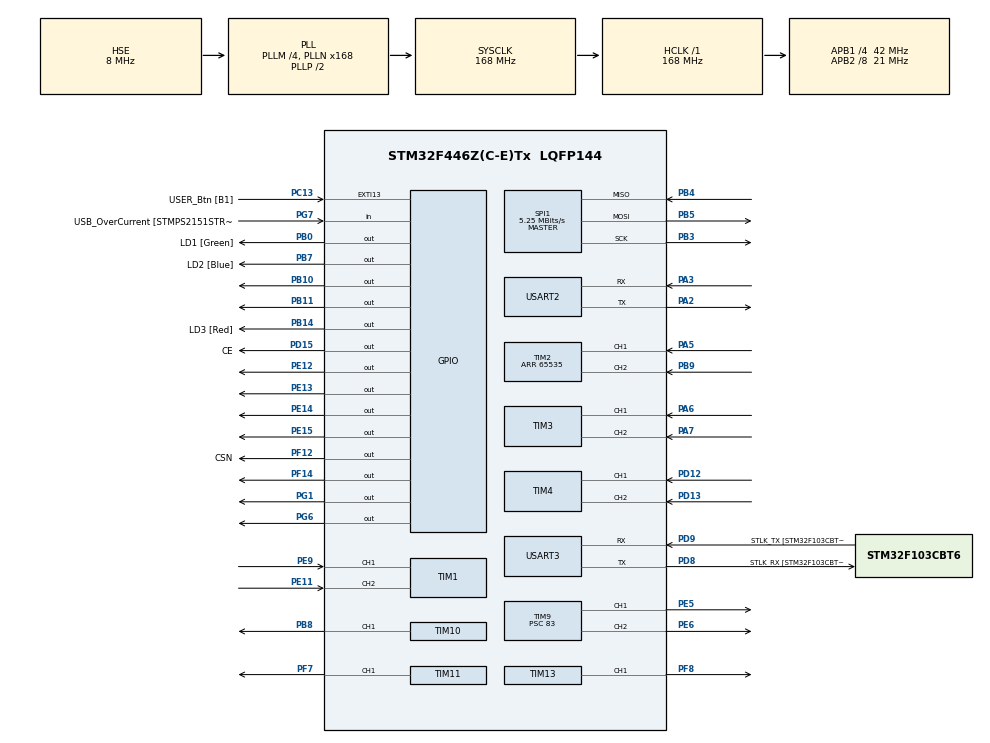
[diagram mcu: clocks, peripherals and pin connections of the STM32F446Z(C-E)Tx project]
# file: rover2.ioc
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Dma.Request0=USART3_RX
Dma.Request1=USART3_TX
Dma.Request2=USART2_RX
Dma.Request3=USART2_TX
Dma.USART2_RX.2.Direction=DMA_PERIPH_TO_MEMORY
Dma.USART2_RX.2.FIFOMode=DMA_FIFOMODE_DISABLE
Dma.USART2_RX.2.Instance=DMA1_Stream5
Dma.USART2_RX.2.MemDataAlignment=DMA_MDATAALIGN_BYTE
Dma.USART2_RX.2.MemInc=DMA_MINC_ENABLE
Dma.USART2_RX.2.Mode=DMA_CIRCULAR
Dma.USART2_RX.2.PeriphDataAlignment=DMA_PDATAALIGN_BYTE
Dma.USART2_RX.2.PeriphInc=DMA_PINC_DISABLE
Dma.USART2_RX.2.Priority=DMA_PRIORITY_VERY_HIGH
Dma.USART2_TX.3.Direction=DMA_MEMORY_TO_PERIPH
Dma.USART2_TX.3.FIFOMode=DMA_FIFOMODE_DISABLE
Dma.USART2_TX.3.Instance=DMA1_Stream6
Dma.USART2_TX.3.MemDataAlignment=DMA_MDATAALIGN_BYTE
Dma.USART2_TX.3.MemInc=DMA_MINC_ENABLE
Dma.USART2_TX.3.Mode=DMA_NORMAL
Dma.USART2_TX.3.PeriphDataAlignment=DMA_PDATAALIGN_BYTE
Dma.USART2_TX.3.PeriphInc=DMA_PINC_DISABLE
Dma.USART2_TX.3.Priority=DMA_PRIORITY_VERY_HIGH
Dma.USART3_RX.0.Direction=DMA_PERIPH_TO_MEMORY
Dma.USART3_RX.0.FIFOMode=DMA_FIFOMODE_DISABLE
Dma.USART3_RX.0.Instance=DMA1_Stream1
Dma.USART3_RX.0.MemDataAlignment=DMA_MDATAALIGN_BYTE
Dma.USART3_RX.0.MemInc=DMA_MINC_ENABLE
Dma.USART3_RX.0.Mode=DMA_CIRCULAR
Dma.USART3_RX.0.PeriphDataAlignment=DMA_PDATAALIGN_BYTE
Dma.USART3_RX.0.PeriphInc=DMA_PINC_DISABLE
Dma.USART3_RX.0.Priority=DMA_PRIORITY_VERY_HIGH
Dma.USART3_TX.1.Direction=DMA_MEMORY_TO_PERIPH
Dma.USART3_TX.1.FIFOMode=DMA_FIFOMODE_DISABLE
Dma.USART3_TX.1.Instance=DMA1_Stream3
Dma.USART3_TX.1.MemDataAlignment=DMA_MDATAALIGN_BYTE
Dma.USART3_TX.1.MemInc=DMA_MINC_ENABLE
Dma.USART3_TX.1.Mode=DMA_NORMAL
Dma.USART3_TX.1.PeriphDataAlignment=DMA_PDATAALIGN_BYTE
Dma.USART3_TX.1.PeriphInc=DMA_PINC_DISABLE
Dma.USART3_TX.1.Priority=DMA_PRIORITY_VERY_HIGH
FREERTOS.Tasks01=defaultTask,24,3000,StartDefaultTask,Default,NULL,Dynamic,NULL,NULL;myTask02,24,128,StartTask02,Default,NULL,Dynamic,NULL,NULL;myTask03,24,128,StartTask03,Default,NULL,Dynamic,NULL,NULL;myTask04,24,128,StartTask04,Default,NULL,Dynamic,NULL,NULL;myTask05,24,128,StartTask05,Default,NULL,Dynamic,NULL,NULL;myTask06,25,128,StartTask06,Default,NULL,Dynamic,NULL,NULL;myTask07,38,3000,StartTask07,Default,NULL,Dynamic,NULL,NULL
FREERTOS.configENABLE_FPU=1
FREERTOS.configTOTAL_HEAP_SIZE=32360
FREERTOS.configUSE_NEWLIB_REENTRANT=1
Mcu.Family=STM32F4
Mcu.Name=STM32F446Z(C-E)Tx
Mcu.Package=LQFP144
NVIC.DMA1_Stream1_IRQn=true\:5\:0\:false\:false\:true\:true\:false\:true\:true
NVIC.DMA1_Stream3_IRQn=true\:5\:0\:false\:false\:true\:true\:false\:true\:true
NVIC.DMA1_Stream5_IRQn=true\:5\:0\:false\:false\:true\:true\:false\:true\:true
NVIC.DMA1_Stream6_IRQn=true\:5\:0\:false\:false\:true\:true\:false\:true\:true
NVIC.PriorityGroup=NVIC_PRIORITYGROUP_4
NVIC.TIM5_IRQn=true\:5\:0\:false\:false\:true\:true\:true\:true\:true
NVIC.TIM7_IRQn=true\:15\:0\:false\:false\:true\:false\:false\:true\:true
NVIC.TimeBase=TIM7_IRQn
NVIC.TimeBaseIP=TIM7
NVIC.USART3_IRQn=true\:5\:0\:false\:false\:true\:true\:true\:true\:true
PA10.GPIO_Label=USB_ID
PA10.Signal=USB_OTG_FS_ID
PA11.GPIO_Label=USB_DM
PA11.Signal=USB_OTG_FS_DM
PA12.GPIO_Label=USB_DP
PA12.Signal=USB_OTG_FS_DP
PA13.GPIO_Label=TMS
PA13.Mode=Serial_Wire
PA13.Signal=SYS_JTMS-SWDIO
PA14.GPIO_Label=TCK
PA14.Mode=Serial_Wire
PA14.Signal=SYS_JTCK-SWCLK
PA2.Mode=Asynchronous
PA2.Signal=USART2_TX
PA3.Mode=Asynchronous
PA3.Signal=USART2_RX
PA5.Signal=S_TIM2_CH1_ETR
PA6.Signal=S_TIM3_CH1
PA7.Signal=S_TIM3_CH2
PA8.GPIO_Label=USB_SOF [TP1]
PA8.Signal=USB_OTG_FS_SOF
PA9.GPIO_Label=USB_VBUS
PA9.Signal=USB_OTG_FS_VBUS
PB0.GPIO_Label=LD1 [Green]
PB0.Signal=GPIO_Output
PB10.GPIO_ModeDefaultOutputPP=GPIO_MODE_OUTPUT_OD
PB10.GPIO_PuPd=GPIO_PULLUP
PB10.Signal=GPIO_Output
PB11.GPIO_ModeDefaultOutputPP=GPIO_MODE_OUTPUT_OD
PB11.GPIO_PuPd=GPIO_PULLUP
PB11.PinState=GPIO_PIN_RESET
PB11.Signal=GPIO_Output
PB14.GPIO_Label=LD3 [Red]
PB14.Signal=GPIO_Output
PB3.Mode=Full_Duplex_Master
PB3.Signal=SPI1_SCK
PB4.Mode=Full_Duplex_Master
PB4.Signal=SPI1_MISO
PB5.Mode=Full_Duplex_Master
PB5.Signal=SPI1_MOSI
PB7.GPIO_Label=LD2 [Blue]
PB7.Signal=GPIO_Output
PB8.Signal=S_TIM10_CH1
PB9.Signal=S_TIM2_CH2
PC13.GPIO_Label=USER_Btn [B1]
PC13.Signal=GPXTI13
PC14-OSC32_IN.Mode=LSE-External-Oscillator
PC14-OSC32_IN.Signal=RCC_OSC32_IN
PC15-OSC32_OUT.Mode=LSE-External-Oscillator
PC15-OSC32_OUT.Signal=RCC_OSC32_OUT
PD12.Signal=S_TIM4_CH1
PD13.Signal=S_TIM4_CH2
PD15.GPIO_Label=CE
PD15.Signal=GPIO_Output
PD8.GPIO_Label=STLK_RX [STM32F103CBT6_PA3]
PD8.Mode=Asynchronous
PD8.Signal=USART3_TX
PD9.GPIO_Label=STLK_TX [STM32F103CBT6_PA2]
PD9.Mode=Asynchronous
PD9.Signal=USART3_RX
PE11.Signal=S_TIM1_CH2
PE12.PinState=GPIO_PIN_RESET
PE12.Signal=GPIO_Output
PE13.GPIO_Speed=GPIO_SPEED_FREQ_LOW
PE13.PinState=GPIO_PIN_RESET
PE13.Signal=GPIO_Output
PE14.GPIO_PuPd=GPIO_NOPULL
PE14.PinState=GPIO_PIN_SET
PE14.Signal=GPIO_Output
PE15.GPIO_ModeDefaultOutputPP=GPIO_MODE_OUTPUT_PP
PE15.GPIO_PuPd=GPIO_NOPULL
PE15.PinState=GPIO_PIN_SET
PE15.Signal=GPIO_Output
PE5.Signal=S_TIM9_CH1
PE6.Signal=S_TIM9_CH2
PE9.Signal=S_TIM1_CH1
PF12.GPIO_Label=CSN
PF12.Signal=GPIO_Output
PF14.PinState=GPIO_PIN_SET
PF14.Signal=GPIO_Output
PF7.Signal=S_TIM11_CH1
PF8.Signal=S_TIM13_CH1
PG1.PinState=GPIO_PIN_SET
PG1.Signal=GPIO_Output
PG6.Signal=GPIO_Output
PG7.GPIO_Label=USB_OverCurrent [STMPS2151STR_FAULT]
PG7.Signal=GPIO_Input
PH0-OSC_IN.GPIO_Label=MCO [STM32F103CBT6_PA8]
PH0-OSC_IN.Mode=HSE-External-Oscillator
PH0-OSC_IN.Signal=RCC_OSC_IN
PH1-OSC_OUT.Mode=HSE-External-Oscillator
PH1-OSC_OUT.Signal=RCC_OSC_OUT
ProjectManager.HeapSize=0x900
ProjectManager.StackSize=0x800
ProjectManager.TargetToolchain=STM32CubeIDE
RCC.48MHZClocksFreq_Value=24000000
RCC.AHBFreq_Value=168000000
RCC.APB1CLKDivider=RCC_HCLK_DIV4
RCC.APB1Freq_Value=42000000
RCC.APB1TimFreq_Value=84000000
RCC.APB2CLKDivider=RCC_HCLK_DIV8
RCC.APB2Freq_Value=21000000
RCC.APB2TimFreq_Value=42000000
RCC.CortexFreq_Value=168000000
RCC.HCLKFreq_Value=168000000
RCC.HSE_VALUE=8000000
RCC.HSI_VALUE=16000000
RCC.PLLM=4
RCC.PLLMUL=RCC_PLL_MUL9
RCC.PLLN=168
RCC.PLLQ=7
RCC.PLLSourceVirtual=RCC_PLLSOURCE_HSE
RCC.PRESCALERUSB=RCC_USBCLKSOURCE_PLL_DIV1_5
RCC.SYSCLKFreq_VALUE=168000000
RCC.SYSCLKSource=RCC_SYSCLKSOURCE_PLLCLK
RCC.SYSCLKSourceVirtual=RCC_SYSCLKSOURCE_PLLCLK
RCC.USBFreq_Value=48000000
RCC.VCOOutputFreq_Value=336000000
SH.S_TIM10_CH1.0=TIM10_CH1,PWM Generation1 CH1
SH.S_TIM11_CH1.0=TIM11_CH1,PWM Generation1 CH1
SH.S_TIM13_CH1.0=TIM13_CH1,PWM Generation1 CH1
SH.S_TIM1_CH1.0=TIM1_CH1,Encoder_Interface
SH.S_TIM1_CH2.0=TIM1_CH2,Encoder_Interface
SH.S_TIM2_CH1_ETR.0=TIM2_CH1,Encoder_Interface
SH.S_TIM2_CH2.0=TIM2_CH2,Encoder_Interface
SH.S_TIM3_CH1.0=TIM3_CH1,Encoder_Interface
SH.S_TIM3_CH2.0=TIM3_CH2,Encoder_Interface
SH.S_TIM4_CH1.0=TIM4_CH1,Encoder_Interface
SH.S_TIM4_CH2.0=TIM4_CH2,Encoder_Interface
SH.S_TIM9_CH1.0=TIM9_CH1,PWM Generation1 CH1
SH.S_TIM9_CH2.0=TIM9_CH2,PWM Generation2 CH2
SPI1.BaudRatePrescaler=SPI_BAUDRATEPRESCALER_4
SPI1.CalculateBaudRate=5.25 MBits/s
SPI1.Direction=SPI_DIRECTION_2LINES
SPI1.Mode=SPI_MODE_MASTER
SPI1.VirtualType=VM_MASTER
TIM1.EncoderMode=TIM_ENCODERMODE_TI12
TIM10.Channel=TIM_CHANNEL_1
TIM10.Period=1000-1
TIM10.Prescaler=83
TIM11.Channel=TIM_CHANNEL_1
TIM11.Period=1000-1
TIM11.Prescaler=41
TIM13.Channel=TIM_CHANNEL_1
TIM13.Prescaler=41
TIM2.EncoderMode=TIM_ENCODERMODE_TI12
TIM2.Period=65535
TIM3.EncoderMode=TIM_ENCODERMODE_TI12
TIM4.EncoderMode=TIM_ENCODERMODE_TI12
TIM5.Period=1000-1
TIM5.Prescaler=41
TIM9.Channel-PWM\ Generation1\ CH1=TIM_CHANNEL_1
TIM9.Channel-PWM\ Generation2\ CH2=TIM_CHANNEL_2
TIM9.Period=1000-1
TIM9.Prescaler=83
USART2.VirtualMode=VM_ASYNC
USART3.VirtualMode=VM_ASYNC
VP_FREERTOS_VS_CMSIS_V2.Mode=CMSIS_V2
VP_SYS_VS_tim7.Mode=TIM7
VP_TIM10_VS_ClockSourceINT.Mode=Enable_Timer
VP_TIM11_VS_ClockSourceINT.Mode=Enable_Timer
VP_TIM13_VS_ClockSourceINT.Mode=Enable_Timer
VP_TIM5_VS_ClockSourceINT.Mode=Internal
VP_TIM9_VS_ClockSourceINT.Mode=Internal
board=NUCLEO-F446ZE

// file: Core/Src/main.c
/* USER CODE BEGIN Header */
/**
  ******************************************************************************
  * @file           : main.c
  * @brief          : Main program body
  ******************************************************************************
  * @attention
  *
  * Copyright (c) 2024 STMicroelectronics.
  * All rights reserved.
  *
  * This software is licensed under terms that can be found in the LICENSE file
  * in the root directory of this software component.
  * If no LICENSE file comes with this software, it is provided AS-IS.
  *
  ******************************************************************************
  */
/* USER CODE END Header */
#include "main.h"
#include "cmsis_os.h"

/* USER CODE BEGIN Includes */

#include "stdio.h"
#include "motor_encoder.h"
#include "pid_control.h"
#include "motor_control.h"
#include "NRF24L01.h"

 #include <rcl/rcl.h>
  #include <rcl/error_handling.h>
  #include <rclc/rclc.h>
  #include <rclc/executor.h>
  #include <uxr/client/transport.h>
  #include <rmw_microxrcedds_c/config.h>
  #include <rmw_microros/rmw_microros.h>

  #include <std_msgs/msg/int32.h>
  #include<std_msgs/msg/int32_multi_array.h>
  #include<std_msgs/msg/int16_multi_array.h>
  #include<std_msgs/msg/float32_multi_array.h>
/* USER CODE END Includes */

/* USER CODE BEGIN PTD */
  #define PUTCHAR_PROTOTYPE int __io_putchar(int ch)

#define CMD_FORWARD  1
#define CMD_BACKWARD 2
#define CMD_LEFT     3
#define CMD_RIGHT    8
#define CMD_STOP     5
#define CMD_IDLE     0
/* USER CODE END PTD */

SPI_HandleTypeDef hspi1;

TIM_HandleTypeDef htim1;
TIM_HandleTypeDef htim2;
TIM_HandleTypeDef htim3;
TIM_HandleTypeDef htim4;
TIM_HandleTypeDef htim5;
TIM_HandleTypeDef htim9;
TIM_HandleTypeDef htim10;
TIM_HandleTypeDef htim11;
TIM_HandleTypeDef htim13;

UART_HandleTypeDef huart2;
UART_HandleTypeDef huart3;
DMA_HandleTypeDef hdma_usart2_rx;
DMA_HandleTypeDef hdma_usart2_tx;
DMA_HandleTypeDef hdma_usart3_rx;
DMA_HandleTypeDef hdma_usart3_tx;

/* Definitions for defaultTask */
osThreadId_t defaultTaskHandle;
const osThreadAttr_t defaultTask_attributes = {
  .name = "defaultTask",
  .stack_size = 3000 * 4,
  .priority = (osPriority_t) osPriorityNormal,
};
/* Definitions for myTask02 */
osThreadId_t myTask02Handle;
const osThreadAttr_t myTask02_attributes = {
  .name = "myTask02",
  .stack_size = 128 * 4,
  .priority = (osPriority_t) osPriorityNormal,
};
/* Definitions for myTask03 */
osThreadId_t myTask03Handle;
const osThreadAttr_t myTask03_attributes = {
  .name = "myTask03",
  .stack_size = 128 * 4,
  .priority = (osPriority_t) osPriorityNormal,
};
/* Definitions for myTask04 */
osThreadId_t myTask04Handle;
const osThreadAttr_t myTask04_attributes = {
  .name = "myTask04",
  .stack_size = 128 * 4,
  .priority = (osPriority_t) osPriorityNormal,
};
/* Definitions for myTask05 */
osThreadId_t myTask05Handle;
const osThreadAttr_t myTask05_attributes = {
  .name = "myTask05",
  .stack_size = 128 * 4,
  .priority = (osPriority_t) osPriorityNormal,
};
/* Definitions for myTask06 */
osThreadId_t myTask06Handle;
const osThreadAttr_t myTask06_attributes = {
  .name = "myTask06",
  .stack_size = 128 * 4,
  .priority = (osPriority_t) osPriorityNormal1,
};
/* Definitions for myTask07 */
osThreadId_t myTask07Handle;
const osThreadAttr_t myTask07_attributes = {
  .name = "myTask07",
  .stack_size = 3000 * 4,
  .priority = (osPriority_t) osPriorityAboveNormal6,
};

void SystemClock_Config(void);
static void MX_GPIO_Init(void);
static void MX_DMA_Init(void);
static void MX_USART3_UART_Init(void);
static void MX_TIM1_Init(void);
static void MX_TIM9_Init(void);
static void MX_TIM3_Init(void);
static void MX_TIM10_Init(void);
static void MX_TIM4_Init(void);
static void MX_TIM2_Init(void);
static void MX_TIM5_Init(void);
static void MX_TIM11_Init(void);
static void MX_TIM13_Init(void);
static void MX_SPI1_Init(void);
static void MX_USART2_UART_Init(void);
void StartDefaultTask(void *argument);
void StartTask02(void *argument);
void StartTask03(void *argument);
void StartTask04(void *argument);
void StartTask05(void *argument);
void StartTask06(void *argument);
void StartTask07(void *argument);

/* USER CODE BEGIN 0 */

volatile int last_counter_value;

//  motor1.mdir_pin_port = GPIOB;  // Direction control pin on GPIO port B
//  motor1.mdir_pin_number = GPIO_PIN_12;  // Pin 12 for direction control
//  motor1.rst_pin_port = GPIOA;  // Reset control pin on GPIO port A
//  motor1.rst_pin_number = GPIO_PIN_15;  // Pin 15 for reset

  static encoder_inst  motora_enc = 	{.first_time = 0,
  											.htim_encoder = &htim1,
  											.last_counter_value = 0,
  											.position = 0,
  											.timer_period = 0.0001,
  											.velocity = 0};

  static encoder_inst  motorb_enc = 	{.first_time = 0,
  											.htim_encoder = &htim4,
  											.last_counter_value = 0,
  											.position = 0,
  											.timer_period = 0.0001,
  											.velocity = 0};
  static encoder_inst  motorc_enc = 	{.first_time = 0,
   											.htim_encoder = &htim2,
   											.last_counter_value = 0,
   											.position = 0,
   											.timer_period = 0.0001,
   											.velocity = 0};
  static encoder_inst  motord_enc = 	{.first_time = 0,
   											.htim_encoder = &htim3,
   											.last_counter_value = 0,
   											.position = 0,
   											.timer_period = 0.0001,
   											.velocity = 0};

  static pid_instance mota_pid =  {
	        .p_gain = .120,
	        .i_gain = .2800,
	        .d_gain = 0.00,
	        .integral_max = 500,
	        .pid_max = 68,
	        .sam_rate = 1// 100 ms control loop
	    };

  static pid_instance motb_pid =  {
	        .p_gain = .1310,
	        .i_gain = .2800,
	        .d_gain = 0.00,
	        .integral_max = 500,
	        .pid_max = 68,
	        .sam_rate = 1// 100 ms control loop
	    };

  static pid_instance motc_pid =  {
	        .p_gain = .220,
	        .i_gain = .0850,
	        .d_gain = 0.000,
	        .integral_max = 500,
	        .pid_max = 68,
	        .sam_rate = 1// 100 ms control loop
	    };

  static pid_instance motd_pid =  {
	        .p_gain = .290,
	        .i_gain = .08550,
	        .d_gain = 0.1190,
	        .integral_max = 500,
	        .pid_max = 68,
	        .sam_rate = 1// 100 ms control loop
	    };

  int timer_flag_a=0;
  int timer_flag_b=0;
  int timer_flag_c=0;
  int timer_flag_d=0;
  motor_inst motor_a = {
      .htim_motor = &htim9,
      .htim_motor_ch = TIM_CHANNEL_1,
      .mdir_pin_port = GPIOB,
      .mdir_pin_number = GPIO_PIN_10,
      .rst_pin_port = GPIOE,
      .rst_pin_number = GPIO_PIN_15
  };

  motor_inst motor_b = {
      .htim_motor = &htim10,
      .htim_motor_ch = TIM_CHANNEL_1,
      .mdir_pin_port = GPIOB,
      .mdir_pin_number = GPIO_PIN_11,
      .rst_pin_port = GPIOE,
      .rst_pin_number = GPIO_PIN_14
  };

  motor_inst motor_c = {
      .htim_motor = &htim11,
      .htim_motor_ch = TIM_CHANNEL_1,
      .mdir_pin_port = GPIOE,
      .mdir_pin_number = GPIO_PIN_13,
      .rst_pin_port = GPIOF,
      .rst_pin_number = GPIO_PIN_14
  };

  motor_inst motor_d = {
      .htim_motor = &htim13,
      .htim_motor_ch = TIM_CHANNEL_1,
      .mdir_pin_port = GPIOE,
      .mdir_pin_number = GPIO_PIN_12,
      .rst_pin_port = GPIOG,
      .rst_pin_number = GPIO_PIN_1
  };
  int target =15;
  volatile float target_a =0;
  volatile float target_b=0;
  volatile float target_c=0;
  volatile float target_d=0;
/* USER CODE END 0 */

int main(void)
{

  /* MCU Configuration--------------------------------------------------------*/

  /* Reset of all peripherals, Initializes the Flash interface and the Systick. */
  HAL_Init();

  /* Configure the system clock */
  SystemClock_Config();

  /* Initialize all configured peripherals */
  MX_GPIO_Init();
  MX_DMA_Init();
  MX_USART3_UART_Init();
  MX_TIM1_Init();
  MX_TIM9_Init();
  MX_TIM3_Init();
  MX_TIM10_Init();
  MX_TIM4_Init();
  MX_TIM2_Init();
  MX_TIM5_Init();
  MX_TIM11_Init();
  MX_TIM13_Init();
  MX_SPI1_Init();
  MX_USART2_UART_Init();

  /* Init scheduler */
  osKernelInitialize();

  /* Create the thread(s) */
  /* creation of defaultTask */
  defaultTaskHandle = osThreadNew(StartDefaultTask, NULL, &defaultTask_attributes);

  /* creation of myTask02 */
  myTask02Handle = osThreadNew(StartTask02, NULL, &myTask02_attributes);

  /* creation of myTask03 */
  myTask03Handle = osThreadNew(StartTask03, NULL, &myTask03_attributes);

  /* creation of myTask04 */
  myTask04Handle = osThreadNew(StartTask04, NULL, &myTask04_attributes);

  /* creation of myTask05 */
  myTask05Handle = osThreadNew(StartTask05, NULL, &myTask05_attributes);

  /* creation of myTask06 */
  myTask06Handle = osThreadNew(StartTask06, NULL, &myTask06_attributes);

  /* creation of myTask07 */
  myTask07Handle = osThreadNew(StartTask07, NULL, &myTask07_attributes);

  /* Start scheduler */
  osKernelStart();

  /* We should never get here as control is now taken by the scheduler */

  /* Infinite loop */
  while (1)
  {

  }
}

void SystemClock_Config(void)
{
  RCC_OscInitTypeDef RCC_OscInitStruct = {0};
  RCC_ClkInitTypeDef RCC_ClkInitStruct = {0};

  /** Configure the main internal regulator output voltage
  */
  __HAL_RCC_PWR_CLK_ENABLE();
  __HAL_PWR_VOLTAGESCALING_CONFIG(PWR_REGULATOR_VOLTAGE_SCALE1);

  /** Initializes the RCC Oscillators according to the specified parameters
  * in the RCC_OscInitTypeDef structure.
  */
  RCC_OscInitStruct.OscillatorType = RCC_OSCILLATORTYPE_HSE;
  RCC_OscInitStruct.HSEState = RCC_HSE_ON;
  RCC_OscInitStruct.PLL.PLLState = RCC_PLL_ON;
  RCC_OscInitStruct.PLL.PLLSource = RCC_PLLSOURCE_HSE;
  RCC_OscInitStruct.PLL.PLLM = 4;
  RCC_OscInitStruct.PLL.PLLN = 168;
  RCC_OscInitStruct.PLL.PLLP = RCC_PLLP_DIV2;
  RCC_OscInitStruct.PLL.PLLQ = 7;
  RCC_OscInitStruct.PLL.PLLR = 2;
  if (HAL_RCC_OscConfig(&RCC_OscInitStruct) != HAL_OK)
  {
    Error_Handler();
  }

  /** Initializes the CPU, AHB and APB buses clocks
  */
  RCC_ClkInitStruct.ClockType = RCC_CLOCKTYPE_HCLK|RCC_CLOCKTYPE_SYSCLK
                              |RCC_CLOCKTYPE_PCLK1|RCC_CLOCKTYPE_PCLK2;
  RCC_ClkInitStruct.SYSCLKSource = RCC_SYSCLKSOURCE_PLLCLK;
  RCC_ClkInitStruct.AHBCLKDivider = RCC_SYSCLK_DIV1;
  RCC_ClkInitStruct.APB1CLKDivider = RCC_HCLK_DIV4;
  RCC_ClkInitStruct.APB2CLKDivider = RCC_HCLK_DIV8;

  if (HAL_RCC_ClockConfig(&RCC_ClkInitStruct, FLASH_LATENCY_5) != HAL_OK)
  {
    Error_Handler();
  }
}

static void MX_SPI1_Init(void)
{

  /* SPI1 parameter configuration*/
  hspi1.Instance = SPI1;
  hspi1.Init.Mode = SPI_MODE_MASTER;
  hspi1.Init.Direction = SPI_DIRECTION_2LINES;
  hspi1.Init.DataSize = SPI_DATASIZE_8BIT;
  hspi1.Init.CLKPolarity = SPI_POLARITY_LOW;
  hspi1.Init.CLKPhase = SPI_PHASE_1EDGE;
  hspi1.Init.NSS = SPI_NSS_SOFT;
  hspi1.Init.BaudRatePrescaler = SPI_BAUDRATEPRESCALER_4;
  hspi1.Init.FirstBit = SPI_FIRSTBIT_MSB;
  hspi1.Init.TIMode = SPI_TIMODE_DISABLE;
  hspi1.Init.CRCCalculation = SPI_CRCCALCULATION_DISABLE;
  hspi1.Init.CRCPolynomial = 10;
  if (HAL_SPI_Init(&hspi1) != HAL_OK)
  {
    Error_Handler();
  }

}

static void MX_TIM1_Init(void)
{

  TIM_Encoder_InitTypeDef sConfig = {0};
  TIM_MasterConfigTypeDef sMasterConfig = {0};

  htim1.Instance = TIM1;
  htim1.Init.Prescaler = 0;
  htim1.Init.CounterMode = TIM_COUNTERMODE_UP;
  htim1.Init.Period = 65535;
  htim1.Init.ClockDivision = TIM_CLOCKDIVISION_DIV1;
  htim1.Init.RepetitionCounter = 0;
  htim1.Init.AutoReloadPreload = TIM_AUTORELOAD_PRELOAD_DISABLE;
  sConfig.EncoderMode = TIM_ENCODERMODE_TI12;
  sConfig.IC1Polarity = TIM_ICPOLARITY_RISING;
  sConfig.IC1Selection = TIM_ICSELECTION_DIRECTTI;
  sConfig.IC1Prescaler = TIM_ICPSC_DIV1;
  sConfig.IC1Filter = 0;
  sConfig.IC2Polarity = TIM_ICPOLARITY_RISING;
  sConfig.IC2Selection = TIM_ICSELECTION_DIRECTTI;
  sConfig.IC2Prescaler = TIM_ICPSC_DIV1;
  sConfig.IC2Filter = 0;
  if (HAL_TIM_Encoder_Init(&htim1, &sConfig) != HAL_OK)
  {
    Error_Handler();
  }
  sMasterConfig.MasterOutputTrigger = TIM_TRGO_RESET;
  sMasterConfig.MasterSlaveMode = TIM_MASTERSLAVEMODE_DISABLE;
  if (HAL_TIMEx_MasterConfigSynchronization(&htim1, &sMasterConfig) != HAL_OK)
  {
    Error_Handler();
  }

}

static void MX_TIM2_Init(void)
{

  TIM_Encoder_InitTypeDef sConfig = {0};
  TIM_MasterConfigTypeDef sMasterConfig = {0};

  htim2.Instance = TIM2;
  htim2.Init.Prescaler = 0;
  htim2.Init.CounterMode = TIM_COUNTERMODE_UP;
  htim2.Init.Period = 65535;
  htim2.Init.ClockDivision = TIM_CLOCKDIVISION_DIV1;
  htim2.Init.AutoReloadPreload = TIM_AUTORELOAD_PRELOAD_DISABLE;
  sConfig.EncoderMode = TIM_ENCODERMODE_TI12;
  sConfig.IC1Polarity = TIM_ICPOLARITY_RISING;
  sConfig.IC1Selection = TIM_ICSELECTION_DIRECTTI;
  sConfig.IC1Prescaler = TIM_ICPSC_DIV1;
  sConfig.IC1Filter = 0;
  sConfig.IC2Polarity = TIM_ICPOLARITY_RISING;
  sConfig.IC2Selection = TIM_ICSELECTION_DIRECTTI;
  sConfig.IC2Prescaler = TIM_ICPSC_DIV1;
  sConfig.IC2Filter = 0;
  if (HAL_TIM_Encoder_Init(&htim2, &sConfig) != HAL_OK)
  {
    Error_Handler();
  }
  sMasterConfig.MasterOutputTrigger = TIM_TRGO_RESET;
  sMasterConfig.MasterSlaveMode = TIM_MASTERSLAVEMODE_DISABLE;
  if (HAL_TIMEx_MasterConfigSynchronization(&htim2, &sMasterConfig) != HAL_OK)
  {
    Error_Handler();
  }

}

static void MX_TIM3_Init(void)
{

  TIM_Encoder_InitTypeDef sConfig = {0};
  TIM_MasterConfigTypeDef sMasterConfig = {0};

  htim3.Instance = TIM3;
  htim3.Init.Prescaler = 0;
  htim3.Init.CounterMode = TIM_COUNTERMODE_UP;
  htim3.Init.Period = 65535;
  htim3.Init.ClockDivision = TIM_CLOCKDIVISION_DIV1;
  htim3.Init.AutoReloadPreload = TIM_AUTORELOAD_PRELOAD_DISABLE;
  sConfig.EncoderMode = TIM_ENCODERMODE_TI12;
  sConfig.IC1Polarity = TIM_ICPOLARITY_RISING;
  sConfig.IC1Selection = TIM_ICSELECTION_DIRECTTI;
  sConfig.IC1Prescaler = TIM_ICPSC_DIV1;
  sConfig.IC1Filter = 0;
  sConfig.IC2Polarity = TIM_ICPOLARITY_RISING;
  sConfig.IC2Selection = TIM_ICSELECTION_DIRECTTI;
  sConfig.IC2Prescaler = TIM_ICPSC_DIV1;
  sConfig.IC2Filter = 0;
  if (HAL_TIM_Encoder_Init(&htim3, &sConfig) != HAL_OK)
  {
    Error_Handler();
  }
  sMasterConfig.MasterOutputTrigger = TIM_TRGO_RESET;
  sMasterConfig.MasterSlaveMode = TIM_MASTERSLAVEMODE_DISABLE;
  if (HAL_TIMEx_MasterConfigSynchronization(&htim3, &sMasterConfig) != HAL_OK)
  {
    Error_Handler();
  }

}

static void MX_TIM4_Init(void)
{

  TIM_Encoder_InitTypeDef sConfig = {0};
  TIM_MasterConfigTypeDef sMasterConfig = {0};

  htim4.Instance = TIM4;
  htim4.Init.Prescaler = 0;
  htim4.Init.CounterMode = TIM_COUNTERMODE_UP;
  htim4.Init.Period = 65535;
  htim4.Init.ClockDivision = TIM_CLOCKDIVISION_DIV1;
  htim4.Init.AutoReloadPreload = TIM_AUTORELOAD_PRELOAD_DISABLE;
  sConfig.EncoderMode = TIM_ENCODERMODE_TI12;
  sConfig.IC1Polarity = TIM_ICPOLARITY_RISING;
  sConfig.IC1Selection = TIM_ICSELECTION_DIRECTTI;
  sConfig.IC1Prescaler = TIM_ICPSC_DIV1;
  sConfig.IC1Filter = 0;
  sConfig.IC2Polarity = TIM_ICPOLARITY_RISING;
  sConfig.IC2Selection = TIM_ICSELECTION_DIRECTTI;
  sConfig.IC2Prescaler = TIM_ICPSC_DIV1;
  sConfig.IC2Filter = 0;
  if (HAL_TIM_Encoder_Init(&htim4, &sConfig) != HAL_OK)
  {
    Error_Handler();
  }
  sMasterConfig.MasterOutputTrigger = TIM_TRGO_RESET;
  sMasterConfig.MasterSlaveMode = TIM_MASTERSLAVEMODE_DISABLE;
  if (HAL_TIMEx_MasterConfigSynchronization(&htim4, &sMasterConfig) != HAL_OK)
  {
    Error_Handler();
  }

}

static void MX_TIM5_Init(void)
{

  TIM_ClockConfigTypeDef sClockSourceConfig = {0};
  TIM_MasterConfigTypeDef sMasterConfig = {0};

  htim5.Instance = TIM5;
  htim5.Init.Prescaler = 41;
  htim5.Init.CounterMode = TIM_COUNTERMODE_UP;
  htim5.Init.Period = 1000-1;
  htim5.Init.ClockDivision = TIM_CLOCKDIVISION_DIV1;
  htim5.Init.AutoReloadPreload = TIM_AUTORELOAD_PRELOAD_DISABLE;
  if (HAL_TIM_Base_Init(&htim5) != HAL_OK)
  {
    Error_Handler();
  }
  sClockSourceConfig.ClockSource = TIM_CLOCKSOURCE_INTERNAL;
  if (HAL_TIM_ConfigClockSource(&htim5, &sClockSourceConfig) != HAL_OK)
  {
    Error_Handler();
  }
  sMasterConfig.MasterOutputTrigger = TIM_TRGO_RESET;
  sMasterConfig.MasterSlaveMode = TIM_MASTERSLAVEMODE_DISABLE;
  if (HAL_TIMEx_MasterConfigSynchronization(&htim5, &sMasterConfig) != HAL_OK)
  {
    Error_Handler();
  }
  /* USER CODE BEGIN TIM5_Init 2 */
	HAL_TIM_Base_Start_IT(&htim5);
  /* USER CODE END TIM5_Init 2 */

}

static void MX_TIM9_Init(void)
{

  TIM_ClockConfigTypeDef sClockSourceConfig = {0};
  TIM_OC_InitTypeDef sConfigOC = {0};

  htim9.Instance = TIM9;
  htim9.Init.Prescaler = 83;
  htim9.Init.CounterMode = TIM_COUNTERMODE_UP;
  htim9.Init.Period = 1000-1;
  htim9.Init.ClockDivision = TIM_CLOCKDIVISION_DIV1;
  htim9.Init.AutoReloadPreload = TIM_AUTORELOAD_PRELOAD_DISABLE;
  if (HAL_TIM_Base_Init(&htim9) != HAL_OK)
  {
    Error_Handler();
  }
  sClockSourceConfig.ClockSource = TIM_CLOCKSOURCE_INTERNAL;
  if (HAL_TIM_ConfigClockSource(&htim9, &sClockSourceConfig) != HAL_OK)
  {
    Error_Handler();
  }
  if (HAL_TIM_PWM_Init(&htim9) != HAL_OK)
  {
    Error_Handler();
  }
  sConfigOC.OCMode = TIM_OCMODE_PWM1;
  sConfigOC.Pulse = 0;
  sConfigOC.OCPolarity = TIM_OCPOLARITY_HIGH;
  sConfigOC.OCFastMode = TIM_OCFAST_DISABLE;
  if (HAL_TIM_PWM_ConfigChannel(&htim9, &sConfigOC, TIM_CHANNEL_1) != HAL_OK)
  {
    Error_Handler();
  }
  if (HAL_TIM_PWM_ConfigChannel(&htim9, &sConfigOC, TIM_CHANNEL_2) != HAL_OK)
  {
    Error_Handler();
  }
  /* USER CODE BEGIN TIM9_Init 2 */
  HAL_TIM_PWM_Start(motor_a.htim_motor,motor_a.htim_motor_ch);
  /* USER CODE END TIM9_Init 2 */
  HAL_TIM_MspPostInit(&htim9);

}

static void MX_TIM10_Init(void)
{

  TIM_OC_InitTypeDef sConfigOC = {0};

  htim10.Instance = TIM10;
  htim10.Init.Prescaler = 83;
  htim10.Init.CounterMode = TIM_COUNTERMODE_UP;
  htim10.Init.Period = 1000-1;
  htim10.Init.ClockDivision = TIM_CLOCKDIVISION_DIV1;
  htim10.Init.AutoReloadPreload = TIM_AUTORELOAD_PRELOAD_DISABLE;
  if (HAL_TIM_Base_Init(&htim10) != HAL_OK)
  {
    Error_Handler();
  }
  if (HAL_TIM_PWM_Init(&htim10) != HAL_OK)
  {
    Error_Handler();
  }
  sConfigOC.OCMode = TIM_OCMODE_PWM1;
  sConfigOC.Pulse = 0;
  sConfigOC.OCPolarity = TIM_OCPOLARITY_HIGH;
  sConfigOC.OCFastMode = TIM_OCFAST_DISABLE;
  if (HAL_TIM_PWM_ConfigChannel(&htim10, &sConfigOC, TIM_CHANNEL_1) != HAL_OK)
  {
    Error_Handler();
  }
  /* USER CODE BEGIN TIM10_Init 2 */
  HAL_TIM_PWM_Start(motor_b.htim_motor,motor_b.htim_motor_ch);
  /* USER CODE END TIM10_Init 2 */
  HAL_TIM_MspPostInit(&htim10);

}

static void MX_TIM11_Init(void)
{

  TIM_OC_InitTypeDef sConfigOC = {0};

  htim11.Instance = TIM11;
  htim11.Init.Prescaler = 41;
  htim11.Init.CounterMode = TIM_COUNTERMODE_UP;
  htim11.Init.Period = 1000-1;
  htim11.Init.ClockDivision = TIM_CLOCKDIVISION_DIV1;
  htim11.Init.AutoReloadPreload = TIM_AUTORELOAD_PRELOAD_DISABLE;
  if (HAL_TIM_Base_Init(&htim11) != HAL_OK)
  {
    Error_Handler();
  }
  if (HAL_TIM_PWM_Init(&htim11) != HAL_OK)
  {
    Error_Handler();
  }
  sConfigOC.OCMode = TIM_OCMODE_PWM1;
  sConfigOC.Pulse = 0;
  sConfigOC.OCPolarity = TIM_OCPOLARITY_HIGH;
  sConfigOC.OCFastMode = TIM_OCFAST_DISABLE;
  if (HAL_TIM_PWM_ConfigChannel(&htim11, &sConfigOC, TIM_CHANNEL_1) != HAL_OK)
  {
    Error_Handler();
  }
  HAL_TIM_MspPostInit(&htim11);

}

static void MX_TIM13_Init(void)
{

  TIM_OC_InitTypeDef sConfigOC = {0};

  htim13.Instance = TIM13;
  htim13.Init.Prescaler = 41;
  htim13.Init.CounterMode = TIM_COUNTERMODE_UP;
  htim13.Init.Period = 65535;
  htim13.Init.ClockDivision = TIM_CLOCKDIVISION_DIV1;
  htim13.Init.AutoReloadPreload = TIM_AUTORELOAD_PRELOAD_DISABLE;
  if (HAL_TIM_Base_Init(&htim13) != HAL_OK)
  {
    Error_Handler();
  }
  if (HAL_TIM_PWM_Init(&htim13) != HAL_OK)
  {
    Error_Handler();
  }
  sConfigOC.OCMode = TIM_OCMODE_PWM1;
  sConfigOC.Pulse = 0;
  sConfigOC.OCPolarity = TIM_OCPOLARITY_HIGH;
  sConfigOC.OCFastMode = TIM_OCFAST_DISABLE;
  if (HAL_TIM_PWM_ConfigChannel(&htim13, &sConfigOC, TIM_CHANNEL_1) != HAL_OK)
  {
    Error_Handler();
  }
  HAL_TIM_MspPostInit(&htim13);

}

static void MX_USART2_UART_Init(void)
{

  huart2.Instance = USART2;
  huart2.Init.BaudRate = 115200;
  huart2.Init.WordLength = UART_WORDLENGTH_8B;
  huart2.Init.StopBits = UART_STOPBITS_1;
  huart2.Init.Parity = UART_PARITY_NONE;
  huart2.Init.Mode = UART_MODE_TX_RX;
  huart2.Init.HwFlowCtl = UART_HWCONTROL_NONE;
  huart2.Init.OverSampling = UART_OVERSAMPLING_16;
  if (HAL_UART_Init(&huart2) != HAL_OK)
  {
    Error_Handler();
  }

}

static void MX_USART3_UART_Init(void)
{

  huart3.Instance = USART3;
  huart3.Init.BaudRate = 115200;
  huart3.Init.WordLength = UART_WORDLENGTH_8B;
  huart3.Init.StopBits = UART_STOPBITS_1;
  huart3.Init.Parity = UART_PARITY_NONE;
  huart3.Init.Mode = UART_MODE_TX_RX;
  huart3.Init.HwFlowCtl = UART_HWCONTROL_NONE;
  huart3.Init.OverSampling = UART_OVERSAMPLING_16;
  if (HAL_UART_Init(&huart3) != HAL_OK)
  {
    Error_Handler();
  }

}

static void MX_DMA_Init(void)
{

  /* DMA controller clock enable */
  __HAL_RCC_DMA1_CLK_ENABLE();

  /* DMA interrupt init */
  /* DMA1_Stream1_IRQn interrupt configuration */
  HAL_NVIC_SetPriority(DMA1_Stream1_IRQn, 5, 0);
  HAL_NVIC_EnableIRQ(DMA1_Stream1_IRQn);
  /* DMA1_Stream3_IRQn interrupt configuration */
  HAL_NVIC_SetPriority(DMA1_Stream3_IRQn, 5, 0);
  HAL_NVIC_EnableIRQ(DMA1_Stream3_IRQn);
  /* DMA1_Stream5_IRQn interrupt configuration */
  HAL_NVIC_SetPriority(DMA1_Stream5_IRQn, 5, 0);
  HAL_NVIC_EnableIRQ(DMA1_Stream5_IRQn);
  /* DMA1_Stream6_IRQn interrupt configuration */
  HAL_NVIC_SetPriority(DMA1_Stream6_IRQn, 5, 0);
  HAL_NVIC_EnableIRQ(DMA1_Stream6_IRQn);

}

static void MX_GPIO_Init(void)
{
  GPIO_InitTypeDef GPIO_InitStruct = {0};

  /* GPIO Ports Clock Enable */
  __HAL_RCC_GPIOE_CLK_ENABLE();
  __HAL_RCC_GPIOC_CLK_ENABLE();
  __HAL_RCC_GPIOF_CLK_ENABLE();
  __HAL_RCC_GPIOH_CLK_ENABLE();
  __HAL_RCC_GPIOA_CLK_ENABLE();
  __HAL_RCC_GPIOB_CLK_ENABLE();
  __HAL_RCC_GPIOG_CLK_ENABLE();
  __HAL_RCC_GPIOD_CLK_ENABLE();

  /*Configure GPIO pin Output Level */
  HAL_GPIO_WritePin(GPIOB, LD1_Pin|GPIO_PIN_10|GPIO_PIN_11|LD3_Pin
                          |LD2_Pin, GPIO_PIN_RESET);

  /*Configure GPIO pin Output Level */
  HAL_GPIO_WritePin(CSN_GPIO_Port, CSN_Pin, GPIO_PIN_RESET);

  /*Configure GPIO pin Output Level */
  HAL_GPIO_WritePin(GPIOF, GPIO_PIN_14, GPIO_PIN_SET);

  /*Configure GPIO pin Output Level */
  HAL_GPIO_WritePin(GPIOG, GPIO_PIN_1, GPIO_PIN_SET);

  /*Configure GPIO pin Output Level */
  HAL_GPIO_WritePin(GPIOE, GPIO_PIN_12|GPIO_PIN_13, GPIO_PIN_RESET);

  /*Configure GPIO pin Output Level */
  HAL_GPIO_WritePin(GPIOE, GPIO_PIN_14|GPIO_PIN_15, GPIO_PIN_SET);

  /*Configure GPIO pin Output Level */
  HAL_GPIO_WritePin(CE_GPIO_Port, CE_Pin, GPIO_PIN_RESET);

  /*Configure GPIO pin Output Level */
  HAL_GPIO_WritePin(GPIOG, GPIO_PIN_6, GPIO_PIN_RESET);

  /*Configure GPIO pin : USER_Btn_Pin */
  GPIO_InitStruct.Pin = USER_Btn_Pin;
  GPIO_InitStruct.Mode = GPIO_MODE_IT_RISING;
  GPIO_InitStruct.Pull = GPIO_NOPULL;
  HAL_GPIO_Init(USER_Btn_GPIO_Port, &GPIO_InitStruct);

  /*Configure GPIO pins : LD1_Pin LD3_Pin LD2_Pin */
  GPIO_InitStruct.Pin = LD1_Pin|LD3_Pin|LD2_Pin;
  GPIO_InitStruct.Mode = GPIO_MODE_OUTPUT_PP;
  GPIO_InitStruct.Pull = GPIO_NOPULL;
  GPIO_InitStruct.Speed = GPIO_SPEED_FREQ_LOW;
  HAL_GPIO_Init(GPIOB, &GPIO_InitStruct);

  /*Configure GPIO pins : CSN_Pin PF14 */
  GPIO_InitStruct.Pin = CSN_Pin|GPIO_PIN_14;
  GPIO_InitStruct.Mode = GPIO_MODE_OUTPUT_PP;
  GPIO_InitStruct.Pull = GPIO_NOPULL;
  GPIO_InitStruct.Speed = GPIO_SPEED_FREQ_LOW;
  HAL_GPIO_Init(GPIOF, &GPIO_InitStruct);

  /*Configure GPIO pins : PG1 PG6 */
  GPIO_InitStruct.Pin = GPIO_PIN_1|GPIO_PIN_6;
  GPIO_InitStruct.Mode = GPIO_MODE_OUTPUT_PP;
  GPIO_InitStruct.Pull = GPIO_NOPULL;
  GPIO_InitStruct.Speed = GPIO_SPEED_FREQ_LOW;
  HAL_GPIO_Init(GPIOG, &GPIO_InitStruct);

  /*Configure GPIO pins : PE12 PE13 PE14 PE15 */
  GPIO_InitStruct.Pin = GPIO_PIN_12|GPIO_PIN_13|GPIO_PIN_14|GPIO_PIN_15;
  GPIO_InitStruct.Mode = GPIO_MODE_OUTPUT_PP;
  GPIO_InitStruct.Pull = GPIO_NOPULL;
  GPIO_InitStruct.Speed = GPIO_SPEED_FREQ_LOW;
  HAL_GPIO_Init(GPIOE, &GPIO_InitStruct);

  /*Configure GPIO pins : PB10 PB11 */
  GPIO_InitStruct.Pin = GPIO_PIN_10|GPIO_PIN_11;
  GPIO_InitStruct.Mode = GPIO_MODE_OUTPUT_OD;
  GPIO_InitStruct.Pull = GPIO_PULLUP;
  GPIO_InitStruct.Speed = GPIO_SPEED_FREQ_LOW;
  HAL_GPIO_Init(GPIOB, &GPIO_InitStruct);

  /*Configure GPIO pin : CE_Pin */
  GPIO_InitStruct.Pin = CE_Pin;
  GPIO_InitStruct.Mode = GPIO_MODE_OUTPUT_PP;
  GPIO_InitStruct.Pull = GPIO_NOPULL;
  GPIO_InitStruct.Speed = GPIO_SPEED_FREQ_LOW;
  HAL_GPIO_Init(CE_GPIO_Port, &GPIO_InitStruct);

  /*Configure GPIO pin : USB_OverCurrent_Pin */
  GPIO_InitStruct.Pin = USB_OverCurrent_Pin;
  GPIO_InitStruct.Mode = GPIO_MODE_INPUT;
  GPIO_InitStruct.Pull = GPIO_NOPULL;
  HAL_GPIO_Init(USB_OverCurrent_GPIO_Port, &GPIO_InitStruct);

  /*Configure GPIO pins : USB_SOF_Pin USB_ID_Pin USB_DM_Pin USB_DP_Pin */
  GPIO_InitStruct.Pin = USB_SOF_Pin|USB_ID_Pin|USB_DM_Pin|USB_DP_Pin;
  GPIO_InitStruct.Mode = GPIO_MODE_AF_PP;
  GPIO_InitStruct.Pull = GPIO_NOPULL;
  GPIO_InitStruct.Speed = GPIO_SPEED_FREQ_VERY_HIGH;
  GPIO_InitStruct.Alternate = GPIO_AF10_OTG_FS;
  HAL_GPIO_Init(GPIOA, &GPIO_InitStruct);

  /*Configure GPIO pin : USB_VBUS_Pin */
  GPIO_InitStruct.Pin = USB_VBUS_Pin;
  GPIO_InitStruct.Mode = GPIO_MODE_INPUT;
  GPIO_InitStruct.Pull = GPIO_NOPULL;
  HAL_GPIO_Init(USB_VBUS_GPIO_Port, &GPIO_InitStruct);

}

/* USER CODE BEGIN 4 */
PUTCHAR_PROTOTYPE
 {
   /* Place your implementation of fputc here */
   /* e.g. write a character to the USART1 and Loop until the end of transmission */
   HAL_UART_Transmit(&huart3, (uint8_t *)&ch, 1, 0xFFFF);

   return ch;
 }

bool cubemx_transport_open(struct uxrCustomTransport * transport);
bool cubemx_transport_close(struct uxrCustomTransport * transport);
size_t cubemx_transport_write(struct uxrCustomTransport* transport, const uint8_t * buf, size_t len, uint8_t * err);
size_t cubemx_transport_read(struct uxrCustomTransport* transport, uint8_t* buf, size_t len, int timeout, uint8_t* err);

void * microros_allocate(size_t size, void * state);
void microros_deallocate(void * pointer, void * state);
void * microros_reallocate(void * pointer, size_t size, void * state);
void * microros_zero_allocate(size_t number_of_elements, size_t size_of_element, void * state);

void subscription_callback(const void * msgin)
  {

    const std_msgs__msg__Float32MultiArray * msg = (const std_msgs__msg__Float32MultiArray *)msgin;

        // Process the received message
      //  printf("Received array: ");
        for (size_t i = 0; i <msg->data.size; i++) {

            printf("%.2f ", msg->data.data[i]); // Print float values
        }

  }
/* USER CODE END 4 */

void StartDefaultTask(void *argument)
{
  /* USER CODE BEGIN 5 */
	  uint8_t RxAddress[] = {0xEE,0xDD,0xCC,0xBB,0xAA};
	  uint8_t RxData[32];
	  uint8_t data[50];
	  NRF24_Init();
	  NRF24_RxMode(RxAddress, 10);
	  NRF24_ReadAll(data);

	  while (1)
	  {
		if (isDataAvailable(2) == 1)
		 	  {
			 NRF24_Receive(RxData); // Receive data
			 printf("Received Data: %d\n", RxData); // Debugging output

			  // Parse command (assuming first byte is the command)
			 if (RxData[0] != '\0')
			  {
			      int8_t command = RxData[0] - 0x30;

	    //  command=2;

			             switch (command)
			             {
			                 case CMD_FORWARD:
			                   printf("Command: FORWARD\n");
			                    // disable_motor(&motor_a);
			                    // disable_motor(&motor_b);
			                  //   disable_motor(&motor_c);
			                   //  disable_motor(&motor_d);
			                     target_a = target; // Set target speed
			                     target_b = target;
			                     target_c = target;
			                     target_d =target;
			                     enable_motor(&motor_a);
			                     enable_motor(&motor_b);
			                     enable_motor(&motor_c);
			                     enable_motor(&motor_d);
			                     break;

			                 case CMD_BACKWARD:
			                     printf("Command: BACKWARD\n");

			                    // disable_motor(&motor_a);
			                     //disable_motor(&motor_b);
			                     //disable_motor(&motor_c);
			                     //disable_motor(&motor_d);
			                     target_a = -target; // Set negative target for reverse
			                     target_b = -target;
			                     target_c = -target;
			                     target_d = -target;
			                     enable_motor(&motor_a);
			                     enable_motor(&motor_b);
			                     enable_motor(&motor_c);
			                     enable_motor(&motor_d);
			                     break;

			                 case CMD_LEFT:
			                     printf("Command: LEFT\n");
			                     disable_motor(&motor_a);
			                     disable_motor(&motor_b);
			                     disable_motor(&motor_c);
			                     disable_motor(&motor_d);
			                     target_a = target ; // Reduce speed or reverse for turning
			                     target_b =  -target ;
			                     target_c = target;
			                     target_d = - target;
			                     enable_motor(&motor_a);
			                     enable_motor(&motor_b);
			                     enable_motor(&motor_c);
			                     enable_motor(&motor_d);

			                     break;

			                 case CMD_RIGHT:
			                     printf("Command: RIGHT\n");
			                     disable_motor(&motor_a);
			                     disable_motor(&motor_b);
			                     disable_motor(&motor_c);
			                     disable_motor(&motor_d);
			                     target_a = - target ;
			                     target_b = target ;
			                     target_c =  -target;
			                     target_d = target;
			                     enable_motor(&motor_a);
			                     enable_motor(&motor_b);
			                     enable_motor(&motor_c);
			                     enable_motor(&motor_d);
			                     break;

			                 case CMD_STOP:
			                     printf("Command: STOP\n");

			                     target_a = 0;
			                     target_b = 0;
			                     target_c = 0;
			                     target_d = 0;
			                     disable_motor(&motor_a);
			                     disable_motor(&motor_b);
			                     disable_motor(&motor_c);
			                     disable_motor(&motor_d);

			                     break;
			                 case CMD_IDLE:
			                	 printf("Command: IDLE\n");
			                 default:
			                	 target_a = 0;
			                	 target_b = 0;
			                	 target_c = 0;
			                	 target_d = 0;
			                	 break;

			             }
			}
		 	  }
	  }

  /* USER CODE END 5 */
}

void StartTask02(void *argument)
{
  /* USER CODE BEGIN StartTask02 */
  /* Infinite loop */
	HAL_TIM_PWM_Start(motor_b.htim_motor,motor_b.htim_motor_ch);
	HAL_TIM_Encoder_Start(motorb_enc.htim_encoder, TIM_CHANNEL_ALL);

	for(;;)
	   {
	if (timer_flag_b) // Replace with a semaphore for better control
	        {
		timer_flag_b= 0;
	            get_encoder_speed(&motorb_enc);
	            float current_velocity = motorb_enc.velocity;
	            apply_pid(&motb_pid,target_b- current_velocity);
	            float pwm_duty = get_pwm_from_velocity(motb_pid.output);
	           pwm_duty = pwm_duty < 0 ? 0 : (pwm_duty > 100 ? 100 : pwm_duty); // Clamp duty cycle
	          // set_speed_open(&motor_b, pwm_duty);
	           set_speed_open((motor_inst*)&motor_b, motb_pid.output);
	           // set_speed_open(&motor_d, pwm_duty);
	       osDelay(10);

	        }

	   }
  /* USER CODE END StartTask02 */
}

void StartTask03(void *argument)
{
  /* USER CODE BEGIN StartTask03 */
  /* Infinite loop */
	HAL_TIM_PWM_Start(motor_c.htim_motor,motor_c.htim_motor_ch);
	HAL_TIM_Encoder_Start(motorc_enc.htim_encoder, TIM_CHANNEL_ALL);

  for(;;)
  {
	  if (timer_flag_c) // Replace with a semaphore for better control
	  	        {
		  timer_flag_c= 0;
	  	            get_encoder_speed(&motorc_enc);
	  	            float current_velocity = motorc_enc.velocity;
	  	            apply_pid(&motc_pid,  current_velocity- target_c);
	  	            float pwm_duty = get_pwm_from_velocity(motc_pid.output);
	  	          //  pwm_duty = pwm_duty < 0 ? 0 : (pwm_duty > 100 ? 100 : pwm_duty); // Clamp duty cycle
	  	            set_speed_open(&motor_c, motc_pid.output);
	  	        //  set_speed_open(&motor_c, pwm_duty);
	  	         // printf("mot=%f \n", motorc_enc.velocity);
	  	        osDelay(60);
	  	        }

  }
  /* USER CODE END StartTask03 */
}

void StartTask04(void *argument)
{
  /* USER CODE BEGIN StartTask04 */
  /* Infinite loop */
	HAL_TIM_PWM_Start(motor_d.htim_motor,motor_d.htim_motor_ch);
	HAL_TIM_Encoder_Start(motord_enc.htim_encoder, TIM_CHANNEL_ALL);
	volatile float target_speed = 0;
	for(;;)
	{
		if (timer_flag_d) // Replace with a semaphore for better control
		        {
			timer_flag_d = 0;
		            get_encoder_speed(&motord_enc);
		            float current_velocity = motord_enc.velocity;
		            apply_pid(&motd_pid, current_velocity- target_d);
		            float pwm_duty = get_pwm_from_velocity(motd_pid.output);
		            set_speed_open(&motor_d,motd_pid.output);
		            //set_speed_open(&motor_d, pwm_duty);
		        osDelay(50);

		        }

		   }
  /* USER CODE END StartTask04 */
}

void StartTask05(void *argument)
{
  /* USER CODE BEGIN StartTask05 */
  /* Infinite loop */
	HAL_TIM_PWM_Start(motor_a.htim_motor,motor_a.htim_motor_ch);
	HAL_TIM_Encoder_Start(&htim1, TIM_CHANNEL_ALL);

	reset_encoder(&motora_enc);
	float pwm_duty = get_pwm_from_velocity(target_a);
	set_speed_open((motor_inst*)&motor_a,pwm_duty);

  /* Infinite loop */
  for(;;)
  {

 while(timer_flag_a){
	 timer_flag_a=0;
	  get_encoder_speed(&motora_enc);
	  float  temp_velocity = motora_enc.velocity;
	  apply_pid(&mota_pid,target_a-temp_velocity);
//	printf("motor velecity =%f pidout =%f  dutycyle	%f\r\n", motora_enc.velocity,mota_pid.output,pwm_duty);
	pwm_duty=get_pwm_from_velocity(mota_pid.output);
	//set_speed_open((motor_inst*)&motor_a, mota_pid.output);
	set_speed_open((motor_inst*)&motor_a, pwm_duty);
	osDelay(50);
 }
  }
  /* USER CODE END StartTask05 */
}

void StartTask06(void *argument)
{
  /* USER CODE BEGIN StartTask06 */
  /* Infinite loop */
  for(;;)
  {
	  HAL_GPIO_TogglePin(LD1_GPIO_Port,LD1_Pin);
    osDelay(100);
  }
  /* USER CODE END StartTask06 */
}

void StartTask07(void *argument)
{
  /* USER CODE BEGIN StartTask07 */
  /* Infinite loop */
  for(;;)
  {
	     rmw_uros_set_custom_transport(
	            true,
	            (void *) &huart3,
	            cubemx_transport_open,
	            cubemx_transport_close,
	            cubemx_transport_write,
	            cubemx_transport_read);

	          rcl_allocator_t freeRTOS_allocator = rcutils_get_zero_initialized_allocator();
	          freeRTOS_allocator.allocate = microros_allocate;
	          freeRTOS_allocator.deallocate = microros_deallocate;
	          freeRTOS_allocator.reallocate = microros_reallocate;
	          freeRTOS_allocator.zero_allocate =  microros_zero_allocate;

	          if (!rcutils_set_default_allocator(&freeRTOS_allocator)) {
	              printf("Error on default allocators (line %d)\n", __LINE__);
	          }

	          // Declare variables
	              rcl_publisher_t publisher;
	              std_msgs__msg__Float32MultiArray msg1; // Define the message instance for Float32MultiArray
	              rclc_support_t support;
	              rcl_allocator_t allocator;
	              rcl_node_t node;
	              rcl_subscription_t subscriber;

	              // Initialize micro-ROS allocator
	              allocator = rcl_get_default_allocator();

	              // Create init_options
	              rclc_support_init(&support, 0, NULL, &allocator);

	              // Create node
	              rclc_node_init_default(&node, "cubemx_node", "", &support);

	              // Create publisher (if needed)
	              rclc_publisher_init_default(&publisher, &node, ROSIDL_GET_MSG_TYPE_SUPPORT(std_msgs, msg, Float32), "dummy_publisher");

	              // Create subscription
	              const char * topic_name = "subscriber1"; // Topic to subscribe to
	              rclc_subscription_init_default(
	                  &subscriber,
	                  &node,
	                  ROSIDL_GET_MSG_TYPE_SUPPORT(std_msgs, msg, Float32MultiArray),
	                  topic_name);

	              // Initialize message data structure
	              msg1.data.size = 0; // Initially set size to 0
	              msg1.data.capacity = 6; // Set capacity of the array
	              msg1.data.data = (float *)malloc(msg1.data.capacity * sizeof(float)); // Allocate memory for float array

	              // Initialize executor
	              rclc_executor_t executor;
	              rclc_executor_init(&executor, &support.context, 1, &allocator);

	              // Add subscription to executor
	              rclc_executor_add_subscription(&executor, &subscriber, &msg1, &subscription_callback, ON_NEW_DATA);

	              for(;;) {
	                  // Spin executor to handle incoming messages
	                  rclc_executor_spin_some(&executor, RCL_MS_TO_NS(10)); // Handle callbacks

	                  /* USER CODE END StartDefaultTask */

	                  // Optional: Add other application logic here
	                 // osDelay(10); // Adjust delay as needed for your application
	              }

	              // Free allocated memory before exiting (if applicable)
	              free(msg1.data.data);

  }
  /* USER CODE END StartTask07 */
}

void HAL_TIM_PeriodElapsedCallback(TIM_HandleTypeDef *htim)
{
  if (htim->Instance == TIM7) {
    HAL_IncTick();
  }
  /* USER CODE BEGIN Callback 1 */
  /* USER CODE END Callback 0 */
    if (htim->Instance == TIM5) {
    	 timer_flag_a=1;
    	 timer_flag_b=1;
    	 timer_flag_c=1;
    	 timer_flag_d=1;
    }

  /* USER CODE END Callback 1 */
}

void Error_Handler(void)
{
  __disable_irq();
  while (1)
  {
  }
}
